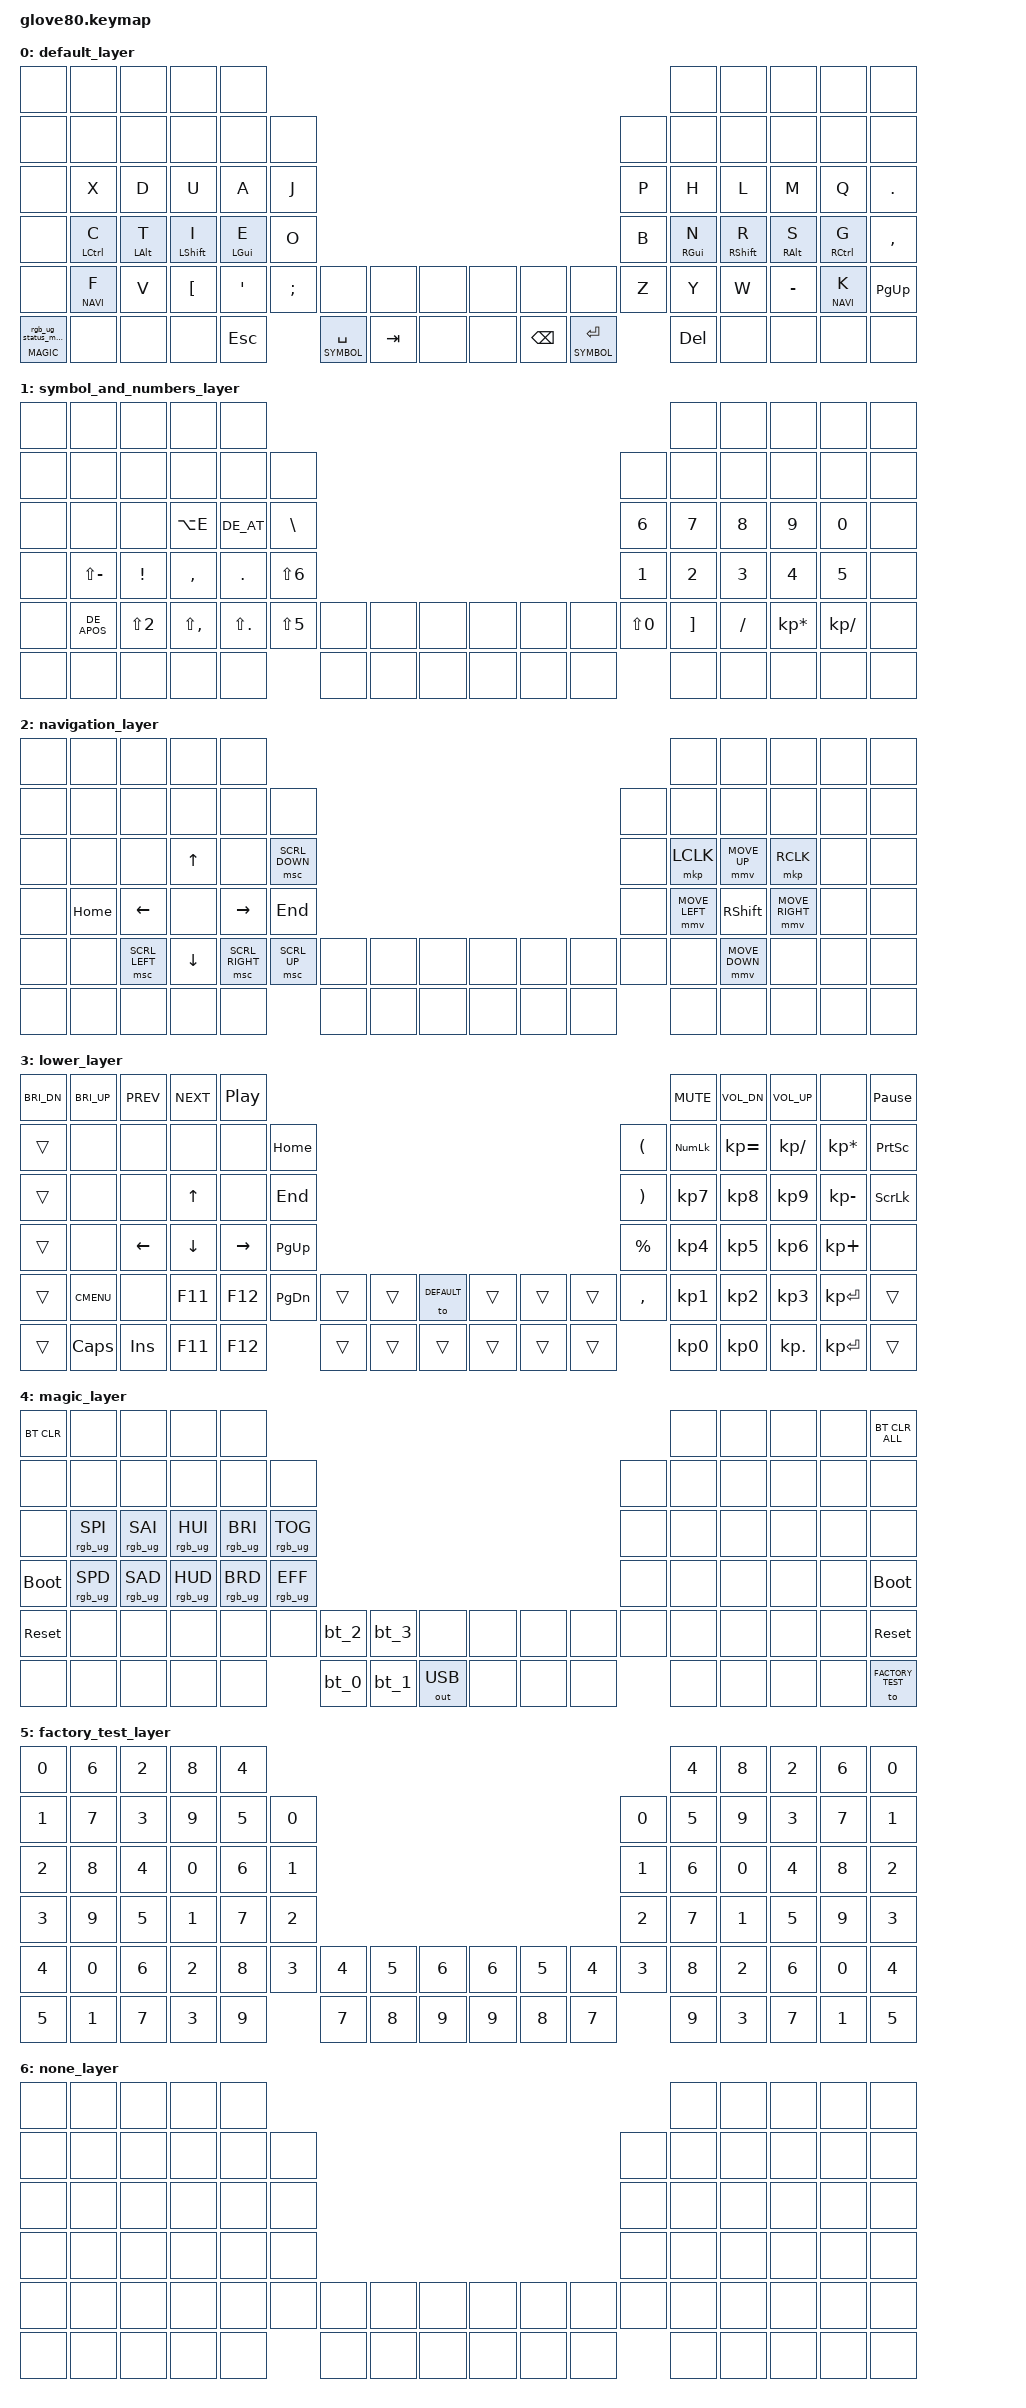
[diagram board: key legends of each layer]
 /*
 * Copyright (c) 2020 The ZMK Contributors
 *
 * SPDX-License-Identifier: MIT
 */

#include <behaviors.dtsi>
#include <dt-bindings/zmk/keys.h>
#include <dt-bindings/zmk/bt.h>
#include <dt-bindings/zmk/ext_power.h>
#include <dt-bindings/zmk/outputs.h>
#include <dt-bindings/zmk/rgb.h>
#include <dt-bindings/zmk/pointing.h>
#include "keys_de.h"

#define HYPER LC(LS(LG(LALT)))

// layers
#define DEFAULT 0
#define SYMBOL 1
#define NAVI 2
#define LOWER 3
#define MAGIC 4
#define FACTORY_TEST 5

/ {
    zmk,unicode-input-mode = "macos";

    behaviors {
        // For the "layer" key, it'd nice to be able to use it as either a shift or a toggle.
        // Configure it as a tap dance, so the first tap (or hold) is a &mo and the second tap is a &to
        layer_td: tap_dance_0 {
            compatible = "zmk,behavior-tap-dance";
            label = "LAYER_TAP_DANCE";
            #binding-cells = <0>;
            tapping-term-ms = <200>;
            bindings = <&mo LOWER>, <&to LOWER>;
        };

        magic: magic_hold_tap {
            compatible = "zmk,behavior-hold-tap";
            label = "MAGIC_HOLD_TAP";
            #binding-cells = <2>;
            flavor = "tap-preferred";
            tapping-term-ms = <200>;
            bindings = <&mo>, <&rgb_ug_status_macro>;
        };

        // Homerow mods: https://zmk.dev/docs/keymaps/behaviors/hold-tap?examples=home_row_mods#example-use-cases
        hml: home_row_mod_left {
            compatible = "zmk,behavior-hold-tap";
            #binding-cells = <2>;
            flavor = "balanced";
            require-prior-idle-ms = <150>;
            tapping-term-ms = <280>;
            quick-tap-ms = <175>;
            bindings = <&kp>, <&kp>;
            hold-trigger-key-positions = <C T I E>; // List of keys on the right side of the keyboard
            hold-trigger-on-release;
        };
        hmr: home_row_mod_right {
            compatible = "zmk,behavior-hold-tap";
            #binding-cells = <2>;
            flavor = "balanced";
            require-prior-idle-ms = <150>;
            tapping-term-ms = <280>;
            quick-tap-ms = <175>;
            bindings = <&kp>, <&kp>;
            hold-trigger-key-positions = <N R S G>; // List of keys on the left side of the keyboard
            hold-trigger-on-release;
        };
    };

    macros {
        rgb_ug_status_macro: rgb_ug_status_macro_0 {
            label = "RGB_UG_STATUS";
            compatible = "zmk,behavior-macro";
            #binding-cells = <0>;
            bindings
                = <&rgb_ug RGB_STATUS>;
        };

        bt_0: bt_profile_macro_0 {
            label = "BT_0";
            compatible = "zmk,behavior-macro";
            #binding-cells = <0>;
            bindings
                = <&out OUT_BLE>,
                  <&bt BT_SEL 0>;
        };

        bt_1: bt_profile_macro_1 {
            label = "BT_1";
            compatible = "zmk,behavior-macro";
            #binding-cells = <0>;
            bindings
                = <&out OUT_BLE>,
                  <&bt BT_SEL 1>;
        };

        bt_2: bt_profile_macro_2 {
            label = "BT_2";
            compatible = "zmk,behavior-macro";
            #binding-cells = <0>;
            bindings
                = <&out OUT_BLE>,
                  <&bt BT_SEL 2>;
        };

        bt_3: bt_profile_macro_3 {
            label = "BT_3";
            compatible = "zmk,behavior-macro";
            #binding-cells = <0>;
            bindings
                = <&out OUT_BLE>,
                  <&bt BT_SEL 3>;
        };
    };

    keymap {
        compatible = "zmk,keymap";

        default_layer {
            // ---------------------------------------------------------------------------------------------------------------------------------
            // |  nop  | nop | nop |  nop |  nop |                                                               |  nop  |  nop  |  nop |  nop  | nop |
            // |  nop  |  1  |  2  |  3   |  4   |  5   |                                                 |  6   |   7   |   8   |  9   |   0   | nop |
            // |  nop  |  X  |  D  |  U   |  A   |  J   |                                                 |  P   |   H   |   L   |  M   |   Q   | nop |
            // |  nop  |  C  |  T  |  I   |  E   |  O   |                                                 |  B   |   N   |   R   |  S   |   G   | nop |
            // |  nop  |  F  |  V  |  Ü   |  Ä   |  Ö   | nop    | nop   | nop   | | nop   | nop    | nop |  Y   |   Z   |   W   |  ß   |   K   | nop |
            // | MAGIC | nop | nop | nop  | ESC  |      | SPACE  | TAB   | nop   | | nop   | BSPC   | RET |      |  DEL  |  nop  |  nop |  nop  | nop |

            bindings = < 
            &none           &none          &none         &none                &none                                                                                                                              &none          &none           &none         &none           &none
            &none           &none          &none         &none                &none           &none                                                                                                   &none      &none          &none           &none         &none           &none
            &none           &kp X          &kp D         &kp U                &kp A           &kp J                                                                                                   &kp P      &kp H          &kp L           &kp M         &kp Q           &kp DOT
            &none           &hml LCTRL C   &hml LALT T   &hml LSHIFT I        &hml LGUI E     &kp O                                                                                                   &kp B      &hmr RGUI N    &hmr RSHIFT R   &hmr RALT S   &hmr RCTRL G    &kp COMMA
            &none           &lt NAVI F     &kp V         &kp LEFT_BRACKET     &kp SQT         &kp SEMICOLON    &none              &none        &none       &none       &none       &none              &kp Z      &kp Y          &kp W           &kp MINUS     &lt NAVI K      &kp PG_UP
            &magic MAGIC 0  &none          &none         &none                &kp ESC                          &lt SYMBOL SPACE   &kp TAB      &none       &none       &kp BSPC    &lt SYMBOL RET                &kp DEL        &none           &none         &none           &none
            >;
        };

        symbol_and_numbers_layer {
            // ---------------------------------------------------------------------------------------------------------------------------------
            // https://zmk.dev/docs/keymaps/list-of-keycodes
            // | nop | nop | nop | nop | nop |                                                 | nop | nop | nop | nop | nop |
            // | nop | nop | nop | nop | nop | nop  |                                     | nop | nop | nop | nop | nop | nop |
            // | nop |  §  |  $  |  €  |  @  |  #   |                                     |  6  |  7  |  8  |  9  |  0  | nop |
            // | nop |  ?  |  !  |  ,  |  .  |  &   |                                     |  1  |  2  |  3  |  4  |  5  | nop |
            // | nop |  '  |  "  |  ;  |  :  |  %   | nop | nop | nop | | nop | nop | nop |  =  |  +  |  -  |  *  |  /  | nop |
            // | nop | nop | nop | nop | nop |      | nop | nop | nop | | nop | nop | nop |     | nop | nop | nop | nop | nop |
            
            bindings = <
            &none        &none             &none        &none               &none                                                                                                              &none        &none        &none             &none         &none
            &none        &none             &none        &none               &none         &none                                                                                   &none        &none        &none        &none             &none         &none
            &none        &none             &none        &kp LA(E)           &kp DE_AT     &kp BSLH                                                                                &kp N6       &kp N7       &kp N8       &kp N9            &kp N0        &none
            &none        &kp LS(MINUS)     &kp EXCL     &kp COMMA           &kp DOT       &kp LS(N6)                                                                              &kp N1       &kp N2       &kp N3       &kp N4            &kp N5        &none
            &none        &kp DE_APOS       &kp LS(N2)   &kp LS(COMMA)       &kp LS(DOT)   &kp LS(N5)   &none        &none        &none        &none        &none        &none     &kp LS(N0)   &kp RBKT     &kp FSLH     &kp KP_MULTIPLY   &kp KP_SLASH  &none
            &none        &none             &none        &none               &none                      &none        &none        &none        &none        &none        &none                  &none        &none        &none             &none         &none
            >;
        };

        navigation_layer {
            // ---------------------------------------------------------------------------------------------------------------------------------
            // | nop | nop  | nop   | nop   | nop    |                                                     | nop    | nop   | nop    | nop | nop |
            // | nop | nop  | nop   | nop   | nop    | nop   |                                     | nop   | nop    | nop   | nop    | nop | nop |
            // | nop | nop  | nop   | mup   | sup    | sup   |                                     | nop   | lclick | mup   | rclick | nop | nop |
            // | nop | HOME | mleft | nop   | mright | END   |                                     | nop   | mleft  | nop   | mright | nop | nop |
            // | nop | nop  | sleft | mdown | sright | sdown   | nop | nop | nop | | nop | nop | nop | nop   | nop    | mdown | nop    | nop | nop |
            // | nop | nop  | nop   | nop   | nop    |       | nop | nop | nop | | nop | nop | nop |       | nop    | nop   | nop    | nop | nop |
            
            bindings = <
            &none        &none        &none           &none      &none                                                                                                                        &none            &none            &none             &none           &none
            &none        &none        &none           &none      &none              &none                                                                                        &none        &none            &none            &none             &none           &none
            &none        &none        &none           &kp UP     &none              &msc SCRL_DOWN                                                                               &none        &mkp LCLK        &mmv MOVE_UP     &mkp RCLK         &none           &none
            &none        &kp HOME     &kp LEFT        &none      &kp RIGHT          &kp END                                                                                      &none        &mmv MOVE_LEFT   &kp RSHFT        &mmv MOVE_RIGHT   &none           &none
            &none        &none        &msc SCRL_LEFT  &kp DOWN   &msc SCRL_RIGHT    &msc SCRL_UP      &none        &none        &none        &none        &none        &none     &none        &none            &mmv MOVE_DOWN   &none             &none           &none
            &none        &none        &none           &none      &none                                &none        &none        &none        &none        &none        &none                  &none            &none            &none             &none           &none
            >;
        };


        lower_layer {
            bindings = <
            &kp C_BRI_DN      &kp C_BRI_UP        &kp C_PREV      &kp C_NEXT      &kp C_PP                                                                                                           &kp C_MUTE   &kp C_VOL_DN &kp C_VOL_UP  &none           &kp PAUSE_BREAK
            &trans            &none               &none           &none           &none           &kp HOME                                                                              &kp LPAR     &kp KP_NUM   &kp KP_EQUAL &kp KP_DIVIDE &kp KP_MULTIPLY &kp PSCRN
            &trans            &none               &none           &kp UP          &none           &kp END                                                                               &kp RPAR     &kp KP_N7    &kp KP_N8    &kp KP_N9     &kp KP_MINUS    &kp SLCK
            &trans            &none               &kp LEFT        &kp DOWN        &kp RIGHT       &kp PG_UP                                                                             &kp PRCNT    &kp KP_N4    &kp KP_N5    &kp KP_N6     &kp KP_PLUS     &none
            &trans            &kp K_CMENU         &none           &kp F11         &kp F12         &kp PG_DN       &trans      &trans      &to DEFAULT &trans      &trans      &trans    &kp COMMA    &kp KP_N1    &kp KP_N2    &kp KP_N3     &kp KP_ENTER    &trans
            &trans            &kp CAPS            &kp INS         &kp F11         &kp F12                         &trans      &trans      &trans      &trans      &trans      &trans                 &kp KP_N0    &kp KP_N0    &kp KP_DOT    &kp KP_ENTER    &trans
            >;
        };

        magic_layer {
            bindings = <
            &bt BT_CLR        &none               &none           &none           &none                                                                                                             &none         &none        &none         &none           &bt BT_CLR_ALL
            &none             &none               &none           &none           &none           &none                                                                                 &none       &none         &none        &none         &none           &none
            &none             &rgb_ug RGB_SPI     &rgb_ug RGB_SAI &rgb_ug RGB_HUI &rgb_ug RGB_BRI &rgb_ug RGB_TOG                                                                       &none       &none         &none        &none         &none           &none
            &bootloader       &rgb_ug RGB_SPD     &rgb_ug RGB_SAD &rgb_ug RGB_HUD &rgb_ug RGB_BRD &rgb_ug RGB_EFF                                                                       &none       &none         &none        &none         &none           &bootloader
            &sys_reset        &none               &none           &none           &none           &none           &bt_2       &bt_3      &none        &none       &none      &none      &none       &none         &none        &none         &none           &sys_reset
            &none             &none               &none           &none           &none                           &bt_0       &bt_1      &out OUT_USB &none       &none      &none                  &none         &none        &none         &none           &to FACTORY_TEST
            >;
        };

        factory_test_layer {
            bindings = <
            &kp N0   &kp N6   &kp N2   &kp N8   &kp N4                                                                              &kp N4   &kp N8   &kp N2   &kp N6   &kp N0
            &kp N1   &kp N7   &kp N3   &kp N9   &kp N5   &kp N0                                                            &kp N0   &kp N5   &kp N9   &kp N3   &kp N7   &kp N1
            &kp N2   &kp N8   &kp N4   &kp N0   &kp N6   &kp N1                                                            &kp N1   &kp N6   &kp N0   &kp N4   &kp N8   &kp N2
            &kp N3   &kp N9   &kp N5   &kp N1   &kp N7   &kp N2                                                            &kp N2   &kp N7   &kp N1   &kp N5   &kp N9   &kp N3
            &kp N4   &kp N0   &kp N6   &kp N2   &kp N8   &kp N3   &kp N4   &kp N5   &kp N6      &kp N6   &kp N5   &kp N4   &kp N3   &kp N8   &kp N2   &kp N6   &kp N0   &kp N4
            &kp N5   &kp N1   &kp N7   &kp N3   &kp N9            &kp N7   &kp N8   &kp N9      &kp N9   &kp N8   &kp N7            &kp N9   &kp N3   &kp N7   &kp N1   &kp N5
            >;
        };

        none_layer {
            // ---------------------------------------------------------------------------------------------------------------------------------
            // | nop | nop | nop | nop | nop |                                                 | nop | nop | nop | nop | nop |
            // | nop | nop | nop | nop | nop | nop |                                     | nop | nop | nop | nop | nop | nop |
            // | nop | nop | nop | nop | nop | nop |                                     | nop | nop | nop | nop | nop | nop |
            // | nop | nop | nop | nop | nop | nop |                                     | nop | nop | nop | nop | nop | nop |
            // | nop | nop | nop | nop | nop | nop | nop | nop | nop | | nop | nop | nop | nop | nop | nop | nop | nop | nop |
            // | nop | nop | nop | nop | nop |     | nop | nop | nop | | nop | nop | nop |     | nop | nop | nop | nop | nop |
            
            bindings = <
            &none        &none        &none        &none        &none                                                                                                                &none        &none        &none        &none        &none
            &none        &none        &none        &none        &none        &none                                                                                      &none        &none        &none        &none        &none        &none
            &none        &none        &none        &none        &none        &none                                                                                      &none        &none        &none        &none        &none        &none
            &none        &none        &none        &none        &none        &none                                                                                      &none        &none        &none        &none        &none        &none
            &none        &none        &none        &none        &none        &none        &none        &none        &none        &none        &none        &none        &none        &none        &none        &none        &none        &none
            &none        &none        &none        &none        &none                     &none        &none        &none        &none        &none        &none                     &none        &none        &none        &none        &none
            >;
        };
    };
};
